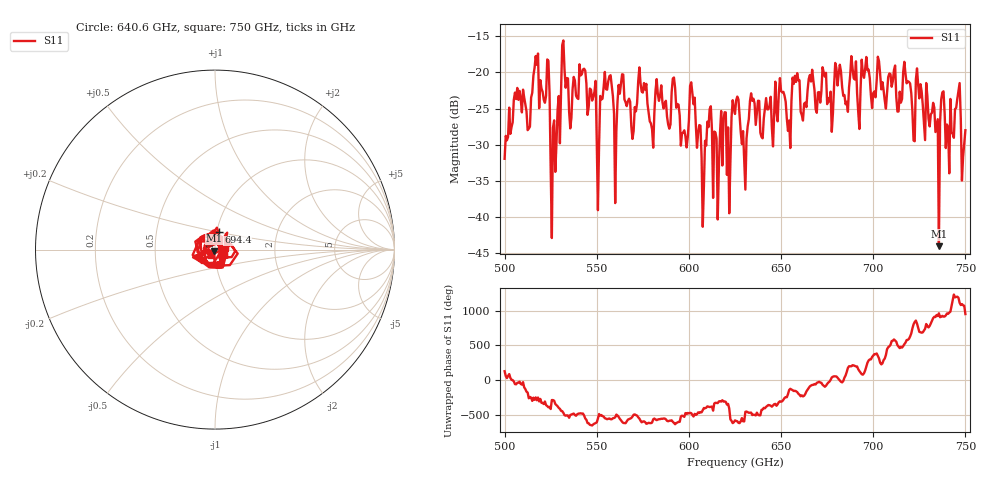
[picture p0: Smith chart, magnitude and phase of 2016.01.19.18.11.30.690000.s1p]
!Created with skrf (http://scikit-rf.org).
# GHz S RI R 50.0
!freq ReS11 ImS11
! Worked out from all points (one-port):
!   401 points, 500 GHz to 750 GHz, reference 50 ohm
!   lowest |S11| = -44.0 dB at 735.6 GHz (marker M1), VSWR 1.01, Z = 49.7 - j0.562 ohm
!   |S11| at or under -10 dB: start of sweep to end of sweep
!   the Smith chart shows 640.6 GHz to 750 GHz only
!   S11 on the Smith chart (normalised r, x): 640.6 GHz: 1.07, -0.07; 694.4 GHz: 1.02, +0.20; 750 GHz: 0.95, -0.06
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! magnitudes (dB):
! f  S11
! 500 GHz  -31.9
! 513.1 GHz  -27.8
! 516.9 GHz  -17.7
! 523.1 GHz  -18.2
! 526.2 GHz  -27.6
! 531.2 GHz  -16.2
! 543.1 GHz  -19.5
! 551.2 GHz  -30.1
! 553.1 GHz  -23.6
! 560 GHz  -38.0
! 562.5 GHz  -22.9
! 593.8 GHz  -24.4
! 598.1 GHz  -28.9
! 601.9 GHz  -22.9
! 608.1 GHz  -35.7
! 611.2 GHz  -25.1
! 621.9 GHz  -39.4
! 625 GHz  -25.7
! 630 GHz  -32.2
! 634.4 GHz  -23.9
! 640.6 GHz  -26.3
! 656.2 GHz  -20.7
! 687.5 GHz  -20.4
! 694.4 GHz  -20.2
! 718.8 GHz  -21.2
! 735.6 GHz  -44.0
! 745.6 GHz  -23.6
! 750 GHz  -28.0
